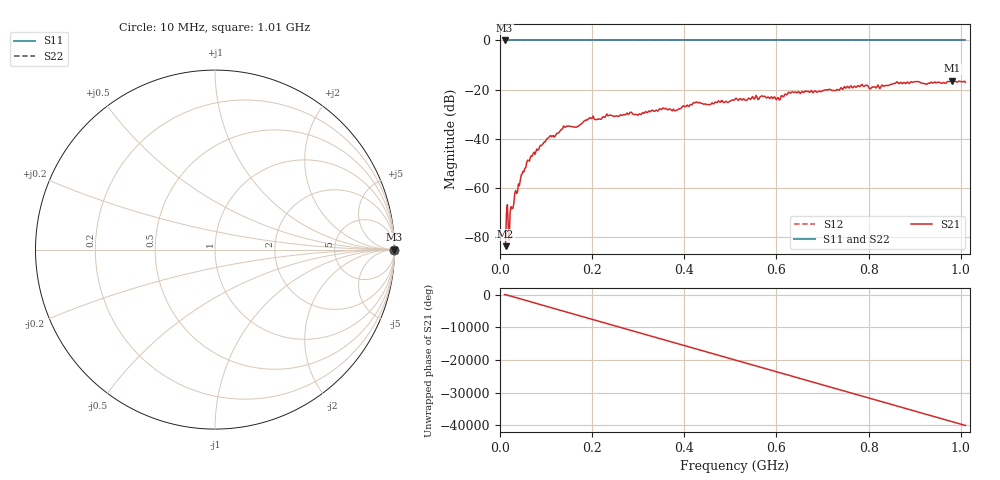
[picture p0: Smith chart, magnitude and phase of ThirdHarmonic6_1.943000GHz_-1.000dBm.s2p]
! 8/16/2025 11:24:26 PM
! C:\ANRITSUVNA\TEMP\TEMP.S2P
! CHANNEL.1
! TR.MEASUREMENT
! RAW.DATA
! RF.CORRECTION.OFF
! AVERAGING.OFF
! IF.BANDWIDTH: 5KHZ
! SWEEPTYPE:  FREQ.SWEEP(Linear)
! Reference Plane Port Info
! PORT:  PORT1  PORT2
! DISTANCE:  0  m  0  m
! TIME:  0  s  0  s
! PHASE.OFFSET:  0  deg.  0  deg.
! LOSS:  0  dB  0  dB
! REF.LOSS:  0  dB  0  dB
! REF.FREQ:  0  Hz  0  Hz
! Power Info
! POWER:  -20  dBm  -20  dBm
! EFF.POWER:  -20  dBm  -20  dBm
! SOURCE.ATTEN:  0  dB  0  dB
! TEST.ATTEN:  0  dB  0  dB
# GHZ S RI R 50.0
! FREQ.GHZ  S11RE  S11IM  S21RE  S21IM  S12RE  S12IM  S22RE  S22IM
!; PortSelection: Port_12
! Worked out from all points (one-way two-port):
!   501 points, 10 MHz to 1.01 GHz, reference 50 ohm
!   highest |S21| = -16.42 dB at 982 MHz (marker M1); lowest = -83.8 dB at 12 MHz (marker M2)
!   lowest |S11| = 0.0 dB at 10 MHz (marker M3)
!   |S11| at or under -10 dB: nowhere
!   |S22| runs from 0.0 to 0.0 dB; largest |S21 - S12| = 1.1
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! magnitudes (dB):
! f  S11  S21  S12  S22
! 10 MHz  0.0  -83.0  0.0  0.0
! 12 MHz  0.0  -83.8  0.0  0.0
! 22 MHz  0.0  -69.8  0.0  0.0
! 28 MHz  0.0  -68.4  0.0  0.0
! 48 MHz  0.0  -54.3  0.0  0.0
! 70 MHz  0.0  -47.1  0.0  0.0
! 106 MHz  0.0  -39.5  0.0  0.0
! 136 MHz  0.0  -35.8  0.0  0.0
! 178 MHz  0.0  -33.8  0.0  0.0
! 198 MHz  0.0  -31.8  0.0  0.0
! 344 MHz  0.0  -28.6  0.0  0.0
! 382 MHz  0.0  -28.4  0.0  0.0
! 424 MHz  0.0  -25.4  0.0  0.0
! 452 MHz  0.0  -26.1  0.0  0.0
! 510 MHz  0.0  -24.0  0.0  0.0
! 570 MHz  0.0  -22.7  0.0  0.0
! 604 MHz  0.0  -23.3  0.0  0.0
! 630 MHz  0.0  -21.5  0.0  0.0
! 678 MHz  0.0  -21.0  0.0  0.0
! 844 MHz  0.0  -18.3  0.0  0.0
! 982 MHz  0.0  -16.4  0.0  0.0
! 1.01 GHz  0.0  -17.1  0.0  0.0
